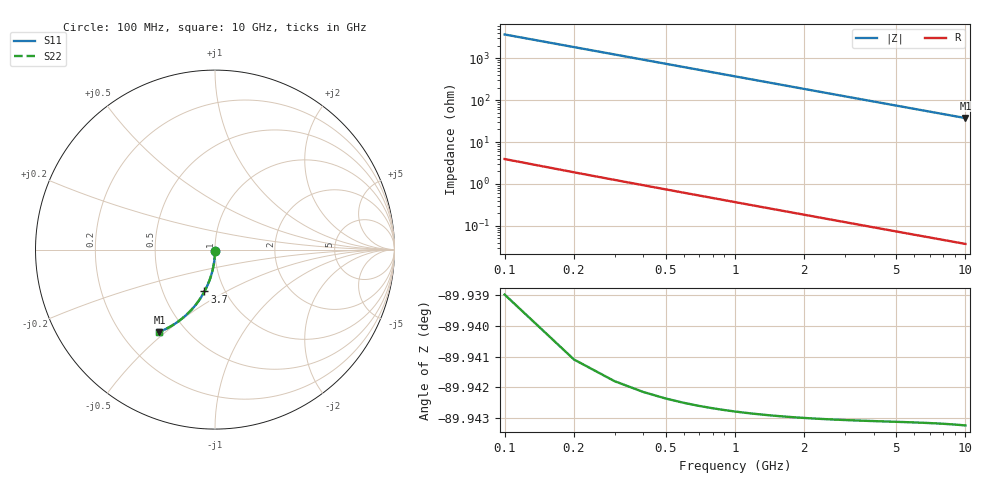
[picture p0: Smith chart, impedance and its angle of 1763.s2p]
# Hz S RI R 50.00
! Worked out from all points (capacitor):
!   100 points, 100 MHz to 10 GHz, reference 50 ohm
!   read as one part in shunt: C = 431 fF near 100 MHz
!   lowest |Z| = 37.4 ohm at 10 GHz (marker M1)
!   S11 on the Smith chart (normalised r, x): 100 MHz: 1.00, -0.01; 3.7 GHz: 0.80, -0.40; 10 GHz: 0.36, -0.48
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1e8  -4.62e-05 -0.00673  0.9999 -0.0068  0.9999 -0.0068  -4.62e-05 -0.00673
2e8  -0.00019 -0.0135  0.9998 -0.0136  0.9998 -0.0136  -0.00019 -0.0135
3e8  -0.000426 -0.0202  0.9996 -0.0204  0.9996 -0.0204  -0.000426 -0.0202
4e8  -0.000752 -0.0269  0.9992 -0.0272  0.9992 -0.0272  -0.000752 -0.0269
5e8  -0.00117 -0.0336  0.9988 -0.034  0.9988 -0.034  -0.00117 -0.0336
6e8  -0.00168 -0.0403  0.9983 -0.0407  0.9983 -0.0407  -0.00168 -0.0403
7e8  -0.00228 -0.047  0.9977 -0.0475  0.9977 -0.0475  -0.00228 -0.047
8e8  -0.00297 -0.0537  0.997 -0.0542  0.997 -0.0542  -0.00297 -0.0537
9e8  -0.00375 -0.0603  0.9962 -0.061  0.9962 -0.061  -0.00375 -0.0603
1.1e9  -0.00557 -0.0736  0.9944 -0.0744  0.9944 -0.0744  -0.00557 -0.0736
1.4e9  -0.00896 -0.0933  0.991 -0.0943  0.991 -0.0943  -0.00896 -0.0933
1.8e9  -0.0147 -0.1192  0.9853 -0.1205  0.9853 -0.1205  -0.0147 -0.1192
2.1e9  -0.0199 -0.1383  0.9801 -0.1398  0.9801 -0.1398  -0.0199 -0.1383
2.5e9  -0.0279 -0.1632  0.9721 -0.165  0.9721 -0.165  -0.0279 -0.1632
2.9e9  -0.0371 -0.1874  0.9629 -0.1895  0.9629 -0.1895  -0.0371 -0.1874
3.4e9  -0.0501 -0.2166  0.9498 -0.219  0.9498 -0.219  -0.0501 -0.2166
3.7e9  -0.0588 -0.2334  0.9412 -0.2361  0.9412 -0.2361  -0.0588 -0.2334
4.4e9  -0.081 -0.2708  0.919 -0.2739  0.919 -0.2739  -0.081 -0.2708
5.1e9  -0.1056 -0.3051  0.8943 -0.3087  0.8943 -0.3087  -0.1056 -0.3051
6.7e9  -0.1687 -0.3716  0.8312 -0.3764  0.8312 -0.3764  -0.1687 -0.3716
8.4e9  -0.2412 -0.4243  0.7588 -0.4303  0.7588 -0.4303  -0.2412 -0.4243
1e10  -0.3099 -0.4583  0.6901 -0.4656  0.6901 -0.4656  -0.3099 -0.4583
